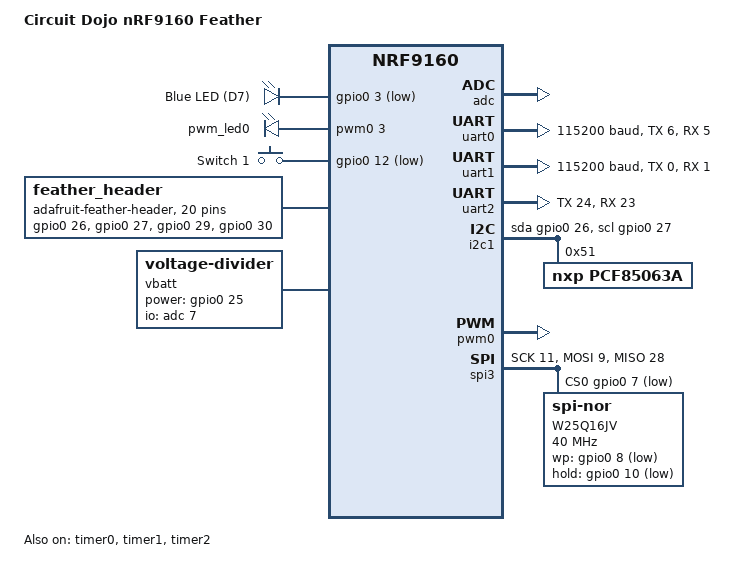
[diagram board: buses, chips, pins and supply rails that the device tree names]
/*
 * Copyright (c) 2018-2020 Nordic Semiconductor ASA
 * Copyright (c) 2020 Circuit Dojo LLC
 *
 * SPDX-License-Identifier: Apache-2.0
 */

/ {
	model = "Circuit Dojo nRF9160 Feather";
	compatible = "circuitdojo,feather-nrf9160";

	chosen {
		zephyr,console = &uart0;
		zephyr,shell-uart = &uart0;
		zephyr,uart-mcumgr = &uart0;
	};

	leds {
		compatible = "gpio-leds";
		blue_led: led_0 {
			gpios = <&gpio0 3 GPIO_ACTIVE_LOW>;
			label = "Blue LED (D7)";
		};
	};

	pwmleds {
		compatible = "pwm-leds";
		pwm_led0: pwm_led_0 {
			pwms = <&pwm0 3>;
		};
	};

	buttons {
		compatible = "gpio-keys";
		button0: button_0 {
			gpios = <&gpio0 12 (GPIO_PULL_UP | GPIO_ACTIVE_LOW)>;
			label = "Switch 1";
		};
	};

	/* These aliases are provided for compatibility with samples */
	aliases {
		led0 = &blue_led;
		pwm-led0 = &pwm_led0;
		sw0 = &button0;
	};

	/* Used for accessing other pins */
	feather_header: feather_connector {
		compatible = "adafruit-feather-header";
		#gpio-cells = <2>;
		gpio-map-mask = <0xffffffff 0xffffffc0>;
		gpio-map-pass-thru = <0 0x3f>;
		gpio-map = <12 0 &gpio0 26 0>,  /* SDA */
				<13 0 &gpio0 27 0>,  /* SCL */
				<14 0 &gpio0 29 0>,  /* PWM3 */
				<15 0 &gpio0 30 0>,  /* PWM3 */
				<16 0 &gpio0 0 0>,   /* PWM1 */
				<17 0 &gpio0 1 0>,   /* PWM1 */
				<18 0 &gpio0 2 0>,   /* PWM1 */
				<19 0 &gpio0 3 0>,   /* PWM0 */
				<20 0 &gpio0 4 0>,   /* PWM1 */
				/* 11 not connected */
				<10 0 &gpio0 24 0>,  /* TX */
				<9 0 &gpio0 23 0>,   /* RX */
				<8 0 &gpio0 22 0>,   /* MISO */
				<7 0 &gpio0 21 0>,   /* MOSI */
				<6 0 &gpio0 19 0>,   /* SCK */
				<5 0 &gpio0 18 0>,   /* SS */
				<4 0 &gpio0 17 0>,   /* ADC4 = AIN6 */
				<3 0 &gpio0 16 0>,   /* ADC3 = AIN5 */
				<2 0 &gpio0 15 0>,   /* ADC2 = AIN4 */
				<1 0 &gpio0 14 0>,   /* ADC1 = AIN2 */
				<0 0 &gpio0 13 0>;   /* ADC0 = AIN1 */
	};
};

&adc {
	status = "okay";
};

&gpiote {
	status = "okay";
};

&gpio0 {
	status = "okay";
};

&uart0 {
	status = "okay";
	current-speed = <115200>;
	tx-pin = <6>;
	rx-pin = <5>;
};

&uart1 {
	current-speed = <115200>;
	tx-pin = <0>;
	rx-pin = <1>;
};

&uart2 {
	tx-pin = <24>;
	rx-pin = <23>;
};

&i2c1 {
	compatible = "nordic,nrf-twim";
	status = "okay";
	sda-gpios = <&gpio0 26 0>;
	scl-gpios = <&gpio0 27 0>;

	pcf85063a@51 {
			compatible = "nxp,pcf85063a";
			label = "PCF85063A";
			reg = <0x51>;
	};

};

&pwm0 {
	status = "okay";
	ch0-pin = <3>;
};

&spi3 {
	compatible = "nordic,nrf-spim";
	status = "okay";
	sck-pin = <11>;
	mosi-pin = <9>;
	miso-pin = <28>;
	cs-gpios = <&gpio0 7 GPIO_ACTIVE_LOW>;
	w25q16jv: w25q16jv@0 {
		compatible = "jedec,spi-nor";
		label = "W25Q16JV";
		reg = <0>;
		spi-max-frequency = <40000000>;
		wp-gpios = <&gpio0 8 GPIO_ACTIVE_LOW>;
		hold-gpios = <&gpio0 10 GPIO_ACTIVE_LOW>;
		size = <0x1000000>;
		has-dpd;
		t-enter-dpd = <4000>;
		t-exit-dpd = <25000>;
		jedec-id = [ef 40 15];
	};
};

&timer0 {
	status = "okay";
};

&timer1 {
	status = "okay";
};

&timer2 {
	status = "okay";
};

&flash0 {

	partitions {
		compatible = "fixed-partitions";
		#address-cells = <1>;
		#size-cells = <1>;

		boot_partition: partition@0 {
			label = "mcuboot";
			reg = <0x00000000 0x10000>;
		};
		slot0_partition: partition@10000 {
			label = "image-0";
		};
		slot0_ns_partition: partition@40000 {
			label = "image-0-nonsecure";
		};
		slot1_partition: partition@80000 {
			label = "image-1";
		};
		slot1_ns_partition: partition@b0000 {
			label = "image-1-nonsecure";
		};
		scratch_partition: partition@f0000 {
			label = "image-scratch";
			reg = <0x000f0000 0xa000>;
		};
		storage_partition: partition@fa000 {
			label = "storage";
			reg = <0x000fa000 0x00006000>;
		};
	};
};

/ {

	reserved-memory {
		#address-cells = <1>;
		#size-cells = <1>;
		ranges;

		sram0_s: image_s@20000000 {
			/* Secure image memory */
		};

		sram0_bsd: image_bsd@20010000 {
			/* BSD (shared) memory */
		};

		sram0_ns: image_ns@20020000 {
			/* Non-Secure image memory */
		};
	};
};

/ {
	vbatt {
		compatible = "voltage-divider";
		io-channels = <&adc 7>;
		output-ohms = <100000>;
		full-ohms = <(100000 + 100000)>;
		power-gpios = <&gpio0 25 0>;
	};
};

/* Include partition configuration file */
#include "circuitdojo_feather_nrf9160_partition_conf.dts"
